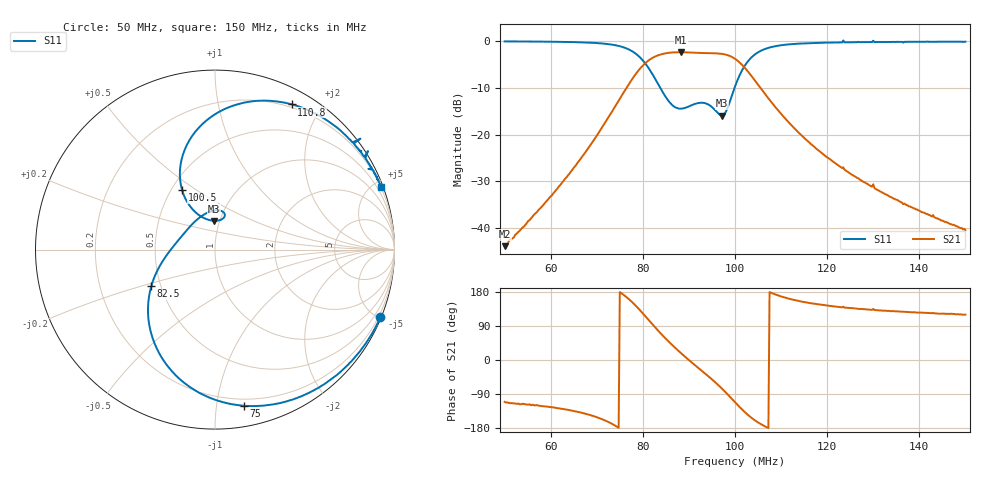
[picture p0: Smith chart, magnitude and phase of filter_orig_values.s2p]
# HZ S RI R 50
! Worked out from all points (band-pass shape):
!   401 points, 50 MHz to 150 MHz, reference 50 ohm
!   highest |S21| = -2.36 dB at 88.25 MHz (marker M1); lowest = -43.9 dB at 50 MHz (marker M2)
!   |S21| within 3 dB of the highest: 79.85 MHz to 101.8 MHz (21.96 MHz wide, 24.2 % of centre)
!   lowest |S11| = -15.9 dB at 97.25 MHz (marker M3), VSWR 1.38, Z = 47.1 + j15.5 ohm
!   |S11| at or under -10 dB: 83.79 MHz to 99.89 MHz (16.1 MHz wide, 17.5 % of centre)
!   S12 and S22 are empty: the file has one direction only
!   S11 on the Smith chart (normalised r, x): 50 MHz: 0.07, -5.09; 75 MHz: 0.15, -1.19; 82.5 MHz: 0.44, -0.22; 100.5 MHz: 0.57, +0.44; 110.8 MHz: 0.17, +1.65; 150 MHz: 0.17, +5.45
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5e7  0.9209 -0.3764  -0.00224 -0.006  0 0  0 0
6.675e7  0.6725 -0.7034  -0.0435 -0.0374  0 0  0 0
7.125e7  0.4653 -0.8234  -0.1114 -0.0481  0 0  0 0
7.5e7  0.1602 -0.8704  -0.2418 0.0038  0 0  0 0
7.725e7  -0.0863 -0.7989  -0.3378 0.1395  0 0  0 0
7.925e7  -0.2865 -0.6178  -0.3419 0.3648  0 0  0 0
8.25e7  -0.3551 -0.2045  0.0198 0.6795  0 0  0 0
8.35e7  -0.317 -0.1086  0.1846 0.6879  0 0  0 0
8.6e7  -0.2123 0.042  0.5444 0.523  0 0  0 0
8.825e7  -0.1372 0.1309  0.7237 0.2399  0 0  0 0
9.025e7  -0.0677 0.1914  0.7565 -0.0375  0 0  0 0
9.25e7  0.0122 0.2189  0.6755 -0.3239  0 0  0 0
9.475e7  0.0548 0.1946  0.493 -0.5578  0 0  0 0
9.725e7  -0.00453 0.1602  0.1715 -0.7108  0 0  0 0
1e8  -0.1645 0.2828  -0.2359 -0.6045  0 0  0 0
1.005e8  -0.1833 0.3315  -0.2894 -0.5504  0 0  0 0
1.025e8  -0.1682 0.5575  -0.3875 -0.3071  0 0  0 0
1.0525e8  0.0332 0.7728  -0.3211 -0.0764  0 0  0 0
1.1075e8  0.4277 0.8089  -0.1464 0.0393  0 0  0 0
1.1675e8  0.6474 0.704  -0.0665 0.0396  0 0  0 0
1.335e8  0.8606 0.4749  -0.0139 0.0169  0 0  0 0
1.5e8  0.9245 0.3509  -0.0047 0.00826  0 0  0 0
